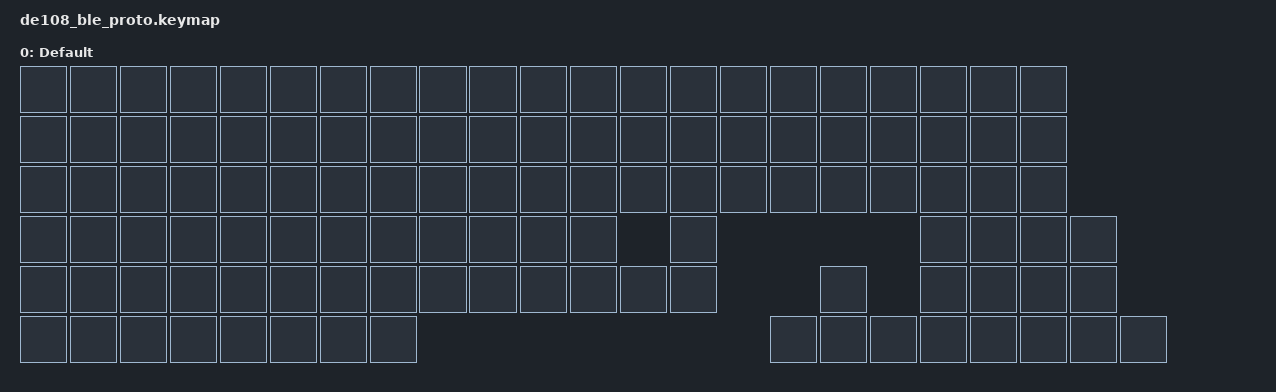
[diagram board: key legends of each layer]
#include "../de60_ble_rev1/common.keymap"

/ {
    keymap {
        compatible = "zmk,keymap";

        base {
            label = "Default";
            bindings = <
&none &none &none &none &none &none &none &none &none &none &none &none &none &none &none &none &none &none &none &none &none
&none &none &none &none &none &none &none &none &none &none &none &none &none &none &none &none &none &none &none &none &none
&none &none &none &none &none &none &none &none &none &none &none &none &none &none &none &none &none &none &none &none &none
&none &none &none &none &none &none &none &none &none &none &none &none       &none                         &none &none &none &none
&none &none &none &none &none &none &none &none &none &none &none &none &none &none             &none       &none &none &none &none
&none &none &none                   &none                         &none &none &none &none &none &none &none &none &none &none &none &none
            >;
        };
    };
};
